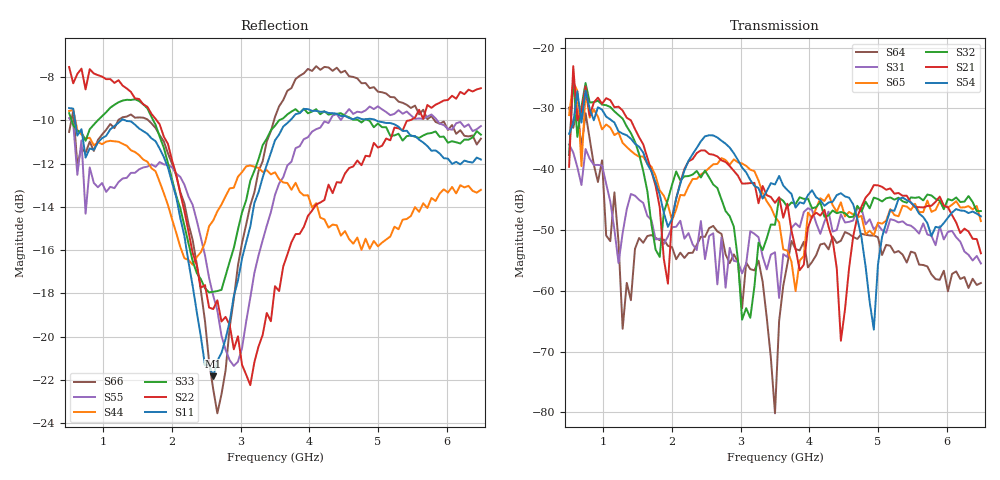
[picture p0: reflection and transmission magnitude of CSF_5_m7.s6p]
!Keysight Technologies,M9804A,MY58100912,A.14.10.03
!Date: Thursday, April 27, 2023 10:28:33
!Correction: S11(C  6-Port  )
!S12(C  6-Port  )
!S13(C  6-Port  )
!S14(C  6-Port  )
!S15(C  6-Port  )
!S16(C  6-Port  )
!S21(C  6-Port  )
!S22(C  6-Port  )
!S23(C  6-Port  )
!S24(C  6-Port  )
!S25(C  6-Port  )
!S26(C  6-Port  )
!S31(C  6-Port  )
!S32(C  6-Port  )
!S33(C  6-Port  )
!S34(C  6-Port  )
!S35(C  6-Port  )
!S36(C  6-Port  )
!S41(C  6-Port  )
!S42(C  6-Port  )
!S43(C  6-Port  )
!S44(C  6-Port  )
!S45(C  6-Port  )
!S46(C  6-Port  )
!S51(C  6-Port  )
!S52(C  6-Port  )
!S53(C  6-Port  )
!S54(C  6-Port  )
!S55(C  6-Port  )
!S56(C  6-Port  )
!S61(C  6-Port  )
!S62(C  6-Port  )
!S63(C  6-Port  )
!S64(C  6-Port  )
!S65(C  6-Port  )
!S66(C  6-Port  )
!S6P File: Measurement: :
# Hz S  RI  R 50
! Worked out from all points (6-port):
!   101 points, 500 MHz to 6.5 GHz, reference 50 ohm
!   strongest paths, dB at 500 MHz, 2 GHz, 3.5 GHz, 5 GHz, 6.5 GHz:
!     S54: -34.2, -48.2, -42.5, -55.7, -47.8
!     S21: -39.6, -48.0, -45.5, -42.6, -53.8
!     S32: -37.7, -42.5, -49.2, -44.9, -46.9
!     S65: -31.1, -48.4, -47.8, -48.8, -48.5
!     S31: -35.9, -49.5, -53.7, -49.2, -55.5
!     S64: -29.9, -52.8, -80.2, -51.2, -58.7
!   lowest |S11| = -21.8 dB at 2.6 GHz (marker M1), VSWR 1.18, Z = 42.7 + j1.95 ohm
!   |S11| at or under -10 dB: 585.7 MHz to 1.264 GHz (678 MHz wide, 73.3 % of centre); 1.312 GHz to 3.723 GHz (2.411 GHz wide, 95.8 % of centre); 4.966 GHz to end of sweep
